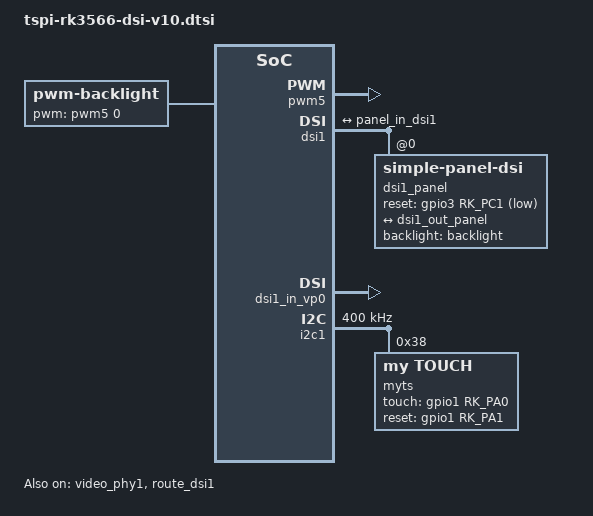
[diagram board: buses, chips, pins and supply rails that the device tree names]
/********************************************************************
 * SPDX-License-Identifier: (GPL-2.0+ OR MIT)
 * 
 * Copyright (c) 2023 Rockchip Electronics Co., Ltd.
 * Copyright (c) 2026 LCKFB <lckfb@sz-jlc.com>
 *********************************************************************
 * Wiki-(Chinese)：https://wiki.lckfb.com/
 * Wiki-(English)：https://wiki.lckfb.com/en/
 *********************************************************************/
/ {
	backlight: backlight {
		compatible = "pwm-backlight";
		pwms = <&pwm5 0 25000 0>;
		brightness-levels = <
			  0  20  20  21  21  22  22  23
			 23  24  24  25  25  26  26  27
			 27  28  28  29  29  30  30  31
			 31  32  32  33  33  34  34  35
			 35  36  36  37  37  38  38  39
			 40  41  42  43  44  45  46  47
			 48  49  50  51  52  53  54  55
			 56  57  58  59  60  61  62  63
			 64  65  66  67  68  69  70  71
			 72  73  74  75  76  77  78  79
			 80  81  82  83  84  85  86  87
			 88  89  90  91  92  93  94  95
			 96  97  98  99 100 101 102 103
			104 105 106 107 108 109 110 111
			112 113 114 115 116 117 118 119
			120 121 122 123 124 125 126 127
			128 129 130 131 132 133 134 135
			136 137 138 139 140 141 142 143
			144 145 146 147 148 149 150 151
			152 153 154 155 156 157 158 159
			160 161 162 163 164 165 166 167
			168 169 170 171 172 173 174 175
			176 177 178 179 180 181 182 183
			184 185 186 187 188 189 190 191
			192 193 194 195 196 197 198 199
			200 201 202 203 204 205 206 207
			208 209 210 211 212 213 214 215
			216 217 218 219 220 221 222 223
			224 225 226 227 228 229 230 231
			232 233 234 235 236 237 238 239
			240 241 242 243 244 245 246 247
			248 249 250 251 252 253 254 255
		>;
		default-brightness-level = <255>;
	};
};

&pwm5 {
	status = "okay";
};


&pinctrl {
	dsi1 {
		dsi1_rst_gpio: dsi1-rst-gpio {
			rockchip,pins = <3 RK_PC1 RK_FUNC_GPIO &pcfg_pull_none>;
		};
	};
};

/*
 * video_phy1 needs to be enabled
 * when dsi1 is enabled
 */
&dsi1 {
	status = "okay";
};

&dsi1_in_vp0 {
	status = "okay";
	// status = "disabled";
};

&dsi1_in_vp1 {
	status = "disabled";
	// status = "okay";
};

&video_phy1 {
	status = "okay";
};

&route_dsi1 {
	status = "okay";
	connect = <&vp0_out_dsi1>;
};


/************************************************************************************************************************************************
10-inch 
Default: 8-inch, 800x1280
************************************************************************************************************************************************/
&i2c1 {
	status = "okay";
	clock-frequency = <400000>;
	// ts@5d {
	// 	compatible = "goodix,gt9xx";
	// 	reg = <0x5d>;
	// 	tp-size = <89>;
	// 	max-x = <1280>;
	// 	max-y = <800>;
	// 	touch-gpio = <&gpio1 RK_PA0 IRQ_TYPE_LEVEL_LOW>;
	// 	reset-gpio = <&gpio1 RK_PA1 GPIO_ACTIVE_LOW>;
	// };
	myts@38 {
        compatible = "my,touch";
        reg = <0x38>;
        tp-size = <89>;
        max-x = <480>;
        max-y = <800>;
		// interrupt-parent = <&gpio1>;
        // interrupts = <0 IRQ_TYPE_EDGE_FALLING>;  // 中断引脚配置正确
        touch-gpio = <&gpio1 RK_PA0 IRQ_TYPE_LEVEL_LOW>;
		reset-gpio = <&gpio1 RK_PA1 GPIO_ACTIVE_HIGH>;
    };

	
};

// 10 inch
// &dsi1 {
// 	status = "okay";
// 	rockchip,lane-rate = <500>;
// 	dsi1_panel: panel@0 {
// 		status = "okay";
// 		compatible = "simple-panel-dsi";
// 		reset-gpios = <&gpio3 RK_PC1 GPIO_ACTIVE_LOW>;
// 		pinctrl-names = "default";
// 		pinctrl-0 = <&dsi1_rst_gpio>;
// 		reg = <0>;
// 		backlight = <&backlight>;
// 		reset-delay-ms = <30>;
// 		enable-delay-ms = <100>;
// 		prepare-delay-ms = <20>;
// 		unprepare-delay-ms = <20>;
// 		disable-delay-ms = <20>;
// 		init-delay-ms = <10>;
// 		dsi,flags = <(MIPI_DSI_MODE_VIDEO | MIPI_DSI_MODE_VIDEO_BURST |
// 			MIPI_DSI_MODE_LPM | MIPI_DSI_MODE_NO_EOT_PACKET)>;
// 		dsi,format = <MIPI_DSI_FMT_RGB888>;
// 		dsi,lanes  = <4>;
// 		panel-init-sequence = [
// 			39 00 04 FF 98 81 03
// 			15 00 02 01 00
// 			15 00 02 02 00
// 			15 00 02 03 53    
// 			15 00 02 04 53    
// 			15 00 02 05 13
// 			15 00 02 06 04
// 			15 00 02 07 02
// 			15 00 02 08 02
// 			15 00 02 09 00
// 			15 00 02 0a 00
// 			15 00 02 0b 00
// 			15 00 02 0c 00
// 			15 00 02 0d 00
// 			15 00 02 0e 00
// 			15 00 02 0f 00
// 			15 00 02 10 00
// 			15 00 02 11 00
// 			15 00 02 12 00
// 			15 00 02 13 00
// 			15 00 02 14 00
// 			15 00 02 15 00
// 			15 00 02 16 00
// 			15 00 02 17 00
// 			15 00 02 18 00
// 			15 00 02 19 00
// 			15 00 02 1a 00
// 			15 00 02 1b 00
// 			15 00 02 1c 00
// 			15 00 02 1d 00
// 			15 00 02 1e c0
// 			15 00 02 1f 00
// 			15 00 02 20 02
// 			15 00 02 21 09
// 			15 00 02 22 00
// 			15 00 02 23 00
// 			15 00 02 24 00
// 			15 00 02 25 00
// 			15 00 02 26 00
// 			15 00 02 27 00
// 			15 00 02 28 55
// 			15 00 02 29 03
// 			15 00 02 2a 00
// 			15 00 02 2b 00
// 			15 00 02 2c 00
// 			15 00 02 2d 00
// 			15 00 02 2e 00
// 			15 00 02 2f 00
// 			15 00 02 30 00
// 			15 00 02 31 00
// 			15 00 02 32 00
// 			15 00 02 33 00
// 			15 00 02 34 00
// 			15 00 02 35 00
// 			15 00 02 36 00
// 			15 00 02 37 00
// 			15 00 02 38 3C
// 			15 00 02 39 00
// 			15 00 02 3a 00
// 			15 00 02 3b 00
// 			15 00 02 3c 00
// 			15 00 02 3d 00
// 			15 00 02 3e 00
// 			15 00 02 3f 00
// 			15 00 02 40 00
// 			15 00 02 41 00
// 			15 00 02 42 00
// 			15 00 02 43 00
// 			15 00 02 44 00
			
// 			15 00 02 50 01
// 			15 00 02 51 23
// 			15 00 02 52 45
// 			15 00 02 53 67
// 			15 00 02 54 89
// 			15 00 02 55 ab
// 			15 00 02 56 01
// 			15 00 02 57 23
// 			15 00 02 58 45
// 			15 00 02 59 67
// 			15 00 02 5a 89
// 			15 00 02 5b ab
// 			15 00 02 5c cd
// 			15 00 02 5d ef

// 			15 00 02 5e 01
// 			15 00 02 5f 0A    
// 			15 00 02 60 02    
// 			15 00 02 61 02    
// 			15 00 02 62 08    
// 			15 00 02 63 15    
// 			15 00 02 64 14    
// 			15 00 02 65 02    
// 			15 00 02 66 11    
// 			15 00 02 67 10    
// 			15 00 02 68 02    
// 			15 00 02 69 0F    
// 			15 00 02 6a 0E    
// 			15 00 02 6b 02    
// 			15 00 02 6c 0D    
// 			15 00 02 6d 0C    
// 			15 00 02 6e 06    
// 			15 00 02 6f 02    
// 			15 00 02 70 02    
// 			15 00 02 71 02    
// 			15 00 02 72 02    
// 			15 00 02 73 02    
// 			15 00 02 74 02    
			
// 			15 00 02 75 0A    
// 			15 00 02 76 02    
// 			15 00 02 77 02    
// 			15 00 02 78 06    
// 			15 00 02 79 15    
// 			15 00 02 7a 14    
// 			15 00 02 7b 02    
// 			15 00 02 7c 10    
// 			15 00 02 7d 11    
// 			15 00 02 7e 02    
// 			15 00 02 7f 0C    
// 			15 00 02 80 0D    
// 			15 00 02 81 02    
// 			15 00 02 82 0E    
// 			15 00 02 83 0F    
// 			15 00 02 84 08    
// 			15 00 02 85 02    
// 			15 00 02 86 02    
// 			15 00 02 87 02    
// 			15 00 02 88 02    
// 			15 00 02 89 02    
// 			15 00 02 8A 02    


// 			39 00 04 FF 98 81 04
// 			//15 00 02 00 00  //
// 			// 15 00 02 2F 01   //BIST (Built-In Self-Test) user debugging: The screen will flash to demonstrate the test.
// 			15 00 02 3B C0  
// 			15 00 02 6C 15
// 			15 00 02 6E 30  
// 			15 00 02 6F 55  
// 			15 00 02 3A 24
// 			15 00 02 8D 1F
// 			15 00 02 87 BA
// 			15 00 02 26 76
// 			15 00 02 B2 D1
// 			15 00 02 B5 07
// 			15 00 02 35 1F
// 			15 00 02 88 0B
// 			15 00 02 21 09


// 			39 00 04 FF 98 81 01
// 			15 00 02 22 0A
// 			15 00 02 31 09
// 			15 00 02 40 33
// 			15 00 02 53 37
// 			15 00 02 55 38
// 			15 00 02 50 95
// 			15 00 02 51 95
// 			15 00 02 60 30

// 			15 00 02 A0 0F        
// 			15 00 02 A1 17        
// 			15 00 02 A2 22        
// 			15 00 02 A3 19        
// 			15 00 02 A4 15        
// 			15 00 02 A5 28        
// 			15 00 02 A6 1C        
// 			15 00 02 A7 1C        
// 			15 00 02 A8 78        
// 			15 00 02 A9 1C        
// 			15 00 02 AA 28        
// 			15 00 02 AB 69        
// 			15 00 02 AC 1A        
// 			15 00 02 AD 19        
// 			15 00 02 AE 4B        
// 			15 00 02 AF 22        
// 			15 00 02 B0 2A        
// 			15 00 02 B1 4B        
// 			15 00 02 B2 6B        
// 			15 00 02 B3 3F        

// 			15 00 02 C0 01        
// 			15 00 02 C1 17        
// 			15 00 02 C2 22        
// 			15 00 02 C3 19        
// 			15 00 02 C4 15        
// 			15 00 02 C5 28        
// 			15 00 02 C6 1C        
// 			15 00 02 C7 1D        
// 			15 00 02 C8 78        
// 			15 00 02 C9 1C        
// 			15 00 02 CA 28        
// 			15 00 02 CB 69        
// 			15 00 02 CC 1A        
// 			15 00 02 CD 19        
// 			15 00 02 CE 4B        
// 			15 00 02 CF 22        
// 			15 00 02 D0 2A        
// 			15 00 02 D1 4B        
// 			15 00 02 D2 6B        
// 			15 00 02 D3 3F        
// 			39 00 04 FF 98 81 00		
// 			05 78 01 11
// 			05 14 01 29
// 		];

// 		panel-exit-sequence = [
// 			05 00 01 28
// 			05 00 01 10
// 		];

// 		disp_timings1: display-timings {
// 			native-mode = <&dsi1_timing0>;
// 			dsi1_timing0: timing0 {
// 				clock-frequency = <71000000>;
// 				hactive = <800>;
// 				vactive = <1280>;
// 				hfront-porch = <52>;
// 				hsync-len = <8>;
// 				hback-porch = <48>;
// 				vfront-porch = <15>;
// 				vsync-len = <6>;
// 				vback-porch = <16>;
// 				hsync-active = <0>;
// 				vsync-active = <0>;
// 				de-active = <0>;
// 				pixelclk-active = <0>;
// 			};
// 		};

// 		ports {
// 			#address-cells = <1>;
// 			#size-cells = <0>;

// 			port@0 {
// 				reg = <0>;
// 				panel_in_dsi1: endpoint {
// 					remote-endpoint = <&dsi1_out_panel>;
// 				};
// 			};
// 		};
// 	};

// 	ports {
// 		#address-cells = <1>;
// 		#size-cells = <0>;

// 		port@1 {
// 			reg = <1>;
// 			dsi1_out_panel: endpoint {
// 				remote-endpoint = <&panel_in_dsi1>;
// 			};
// 		};
// 	};

// };

// 3.1 inch
&dsi1 {
        status = "okay";
        rockchip,lane-rate = <500>;//(480+50+60+10)*(800+20+34+2)*60*3*8/2,+100mhz
        dsi1_panel: panel@0 {
                status = "okay";
                compatible = "simple-panel-dsi";
                reset-gpios = <&gpio3 RK_PC1 GPIO_ACTIVE_LOW>;
                pinctrl-names = "default";
                pinctrl-0 = <&dsi1_rst_gpio>;
                reg = <0>;
                backlight = <&backlight>;
				reset-delay-ms = <200>;
				enable-delay-ms = <100>;
				prepare-delay-ms = <20>;
				unprepare-delay-ms = <20>;
				disable-delay-ms = <20>;
				init-delay-ms = <120>;
				dsi,flags = <(MIPI_DSI_MODE_VIDEO | MIPI_DSI_MODE_VIDEO_BURST |
					MIPI_DSI_MODE_LPM | MIPI_DSI_MODE_NO_EOT_PACKET)>;
				dsi,format = <MIPI_DSI_FMT_RGB888>;
				dsi,lanes  = <2>;
               	panel-init-sequence = [
				// init code
				05 78 01 01
				05 78 01 11
				39 0A 06 FF 77 01 00 00 11
				15 0A 02 D1 11
				15 0A 02 55 B0 // 80 90 b0
				39 0A 06 FF 77 01 00 00 10
				39 0A 03 C0 63 00
				39 0A 03 C1 09 02
				39 0A 03 C2 37 08
				15 0A 02 C7 00 // x-dir rotate 0:0x00,rotate 180:0x04
				15 0A 02 CC 38
				39 0A 11 B0 00 11 19 0C 10 06 07 0A 09 22 04 10 0E 28 30 1C
				39 6E 11 B1 00 12 19 0D 10 04 06 07 08 23 04 12 11 28 30 1C
				39 0A 06 FF 77 01 00 00 11 // enable  bk fun of  command 2  BK1
				15 0A 02 B0 4D
				15 0A 02 B1 60 // 0x56  0x4a  0x5b
				15 0A 02 B2 07
				15 6E 02 B3 80
				15 0A 02 B5 47
				15 0A 02 B7 8A
				15 0A 02 B8 21
				15 0A 02 C1 78
				15 0A 02 C2 78
				15 0A 02 D0 88
				39 0A 04 E0 00 00 02
				39 0A 0C E1 01 A0 03 A0 02 A0 04 A0 00 44 44
				39 0A 0D E2 00 00 00 00 00 00 00 00 00 00 00 00
				39 0A 05 E3 00 00 33 33
				39 0A 03 E4 44 44
				39 0A 11 E5 01 26 A0 A0 03 28 A0 A0 05 2A A0 A0 07 2C A0 A0
				39 0A 05 E6 00 00 33 33
				39 0A 03 E7 44 44
				39 0A 11 E8 02 26 A0 A0 04 28 A0 A0 06 2A A0 A0 08 2C A0 A0
				39 0A 08 EB 00 01 E4 E4 44 00 40
				39 0A 11 ED FF F7 65 4F 0B A1 CF FF FF FC 1A B0 F4 56 7F FF
				15 0A 02 EE 42 // missing?
				39 0A 06 FF 77 01 00 00 00
				15 0A 02 36 00 //U&D  Y-DIR rotate 0:0x00,rotate 180:0x10
				15 0A 02 3A 55
				05 78 01 11           
				05 14 01 29	
			];

			panel-exit-sequence = [
				05 00 01 28
				05 00 01 10
			];

                disp_timings1: display-timings {
                        native-mode = <&dsi1_timing0>;
                        dsi1_timing0: timing0 {
                                clock-frequency = <30816000>;// (480+50+60+10)*(800+20+34+2)*60
                                hactive = <480>;
                                hfront-porch = <50>;
                                hback-porch = <60>;
                                hsync-len = <10>;
                                vactive = <800>;
                                vfront-porch = <20>;
                                vback-porch = <34>;
                                vsync-len = <2>;
                                hsync-active = <0>;
                                vsync-active = <0>;
                                de-active = <0>;
                                pixelclk-active = <0>;
                                swap-rb = <0>;
                                swap-rg = <0>;
                                swap-gb = <0>;
                        };
                };
        ports {
                        #address-cells = <1>;
                        #size-cells = <0>;
                        port@0 {
                                reg = <0>;
                                panel_in_dsi1: endpoint {
                                        remote-endpoint = <&dsi1_out_panel>;
                                };
                        };
                };
        };
        ports {
                #address-cells = <1>;
                #size-cells = <0>;
                port@1 {
                        reg = <1>;
                        dsi1_out_panel: endpoint {
                                remote-endpoint = <&panel_in_dsi1>;
                        };
                };
        };
};

// 8 inch 800x1280
// &dsi1 {
// 	status = "okay";
// 	rockchip,lane-rate = <480>;
// 	dsi1_panel: panel@0 {
// 		status = "okay";
// 		compatible = "simple-panel-dsi";
// 		reset-gpios = <&gpio3 RK_PC1 GPIO_ACTIVE_LOW>;
// 		pinctrl-names = "default";
// 		pinctrl-0 = <&dsi1_rst_gpio>;
// 		reg = <0>;
// 		backlight = <&backlight>;
// 		reset-delay-ms = <10>;
// 		enable-delay-ms = <120>;
// 		prepare-delay-ms = <20>;
// 		unprepare-delay-ms = <20>;
// 		disable-delay-ms = <50>;
// 		dsi,flags = <(MIPI_DSI_MODE_VIDEO | MIPI_DSI_MODE_VIDEO_BURST |
// 			MIPI_DSI_MODE_LPM | MIPI_DSI_MODE_NO_EOT_PACKET)>;
// 		dsi,format = <MIPI_DSI_FMT_RGB888>;
// 		dsi,lanes  = <4>;
// 		panel-init-sequence = [
// 			15 00 02 E0 00
// 			15 00 02 E1 93
// 			15 00 02 E2 65
// 			15 00 02 E3 F8
// 			15 00 02 80 03
// 			15 00 02 E0 01
// 			15 00 02 00 00
// 			15 00 02 01 3C
// 			15 00 02 03 10
// 			15 00 02 04 38
// 			15 00 02 0C 74
// 			15 00 02 17 00
// 			15 00 02 18 E7
// 			15 00 02 19 01
// 			15 00 02 1A 00
// 			15 00 02 1B E7
// 			15 00 02 1C 01
// 			15 00 02 24 FE
// 			15 00 02 35 23
// 			15 00 02 37 09
// 			15 00 02 38 04
// 			15 00 02 39 00
// 			15 00 02 3A 01
// 			15 00 02 3C 70
// 			15 00 02 3D FF
// 			15 00 02 3E FF
// 			15 00 02 3F 7F
// 			15 00 02 40 06
// 			15 00 02 41 A0
// 			15 00 02 43 1E
// 			15 00 02 44 0B
// 			15 00 02 45 28
// 			15 00 02 55 02
// 			15 00 02 57 A9
// 			15 00 02 59 0A
// 			15 00 02 5A 2D
// 			15 00 02 5B 19
// 			15 00 02 5C 15
// 			15 00 02 5D 7F
// 			15 00 02 5E 6E
// 			15 00 02 5F 5F
// 			15 00 02 60 53
// 			15 00 02 61 50
// 			15 00 02 62 41
// 			15 00 02 63 44
// 			15 00 02 64 2C
// 			15 00 02 65 44
// 			15 00 02 66 42
// 			15 00 02 67 40
// 			15 00 02 68 5B
// 			15 00 02 69 45
// 			15 00 02 6A 48
// 			15 00 02 6B 38
// 			15 00 02 6C 32
// 			15 00 02 6D 25
// 			15 00 02 6E 14
// 			15 00 02 6F 08
// 			15 00 02 70 7F
// 			15 00 02 71 6E
// 			15 00 02 72 5F
// 			15 00 02 73 53
// 			15 00 02 74 50
// 			15 00 02 75 41
// 			15 00 02 76 44
// 			15 00 02 77 2C
// 			15 00 02 78 44
// 			15 00 02 79 42
// 			15 00 02 7A 40
// 			15 00 02 7B 5B
// 			15 00 02 7C 45
// 			15 00 02 7D 48
// 			15 00 02 7E 38
// 			15 00 02 7F 32
// 			15 00 02 80 25
// 			15 00 02 81 14
// 			15 00 02 82 08
// 			15 00 02 E0 02
// 			15 00 02 00 50
// 			15 00 02 01 5F
// 			15 00 02 02 5F
// 			15 00 02 03 52
// 			15 00 02 04 77
// 			15 00 02 05 57
// 			15 00 02 06 5F
// 			15 00 02 07 4E
// 			15 00 02 08 4C
// 			15 00 02 09 5F
// 			15 00 02 0A 4A
// 			15 00 02 0B 48
// 			15 00 02 0C 5F
// 			15 00 02 0D 46
// 			15 00 02 0E 44
// 			15 00 02 0F 40
// 			15 00 02 10 5F
// 			15 00 02 11 5F
// 			15 00 02 12 5F
// 			15 00 02 13 5F
// 			15 00 02 14 5F
// 			15 00 02 15 5F
// 			15 00 02 16 51
// 			15 00 02 17 5F
// 			15 00 02 18 5F
// 			15 00 02 19 53
// 			15 00 02 1A 77
// 			15 00 02 1B 57
// 			15 00 02 1C 5F
// 			15 00 02 1D 4F
// 			15 00 02 1E 4D
// 			15 00 02 1F 5F
// 			15 00 02 20 4B
// 			15 00 02 21 49
// 			15 00 02 22 5F
// 			15 00 02 23 47
// 			15 00 02 24 45
// 			15 00 02 25 41
// 			15 00 02 26 5F
// 			15 00 02 27 5F
// 			15 00 02 28 5F
// 			15 00 02 29 5F
// 			15 00 02 2A 5F
// 			15 00 02 2B 5F
// 			15 00 02 2C 01
// 			15 00 02 2D 1F
// 			15 00 02 2E 1F
// 			15 00 02 2F 13
// 			15 00 02 30 17
// 			15 00 02 31 17
// 			15 00 02 32 1F
// 			15 00 02 33 0D
// 			15 00 02 34 0F
// 			15 00 02 35 1F
// 			15 00 02 36 05
// 			15 00 02 37 07
// 			15 00 02 38 1F
// 			15 00 02 39 09
// 			15 00 02 3A 0B
// 			15 00 02 3B 11
// 			15 00 02 3C 1F
// 			15 00 02 3D 1F
// 			15 00 02 3E 1F
// 			15 00 02 3F 1F
// 			15 00 02 40 1F
// 			15 00 02 41 1F
// 			15 00 02 42 00
// 			15 00 02 43 1F
// 			15 00 02 44 1F
// 			15 00 02 45 12
// 			15 00 02 46 17
// 			15 00 02 47 17
// 			15 00 02 48 1F
// 			15 00 02 49 0C
// 			15 00 02 4A 0E
// 			15 00 02 4B 1F
// 			15 00 02 4C 04
// 			15 00 02 4D 06
// 			15 00 02 4E 1F
// 			15 00 02 4F 08
// 			15 00 02 50 0A
// 			15 00 02 51 10
// 			15 00 02 52 1F
// 			15 00 02 53 1F
// 			15 00 02 54 1F
// 			15 00 02 55 1F
// 			15 00 02 56 1F
// 			15 00 02 57 1F
// 			15 00 02 58 40
// 			15 00 02 5B 10
// 			15 00 02 5C 06
// 			15 00 02 5D 40
// 			15 00 02 5E 00
// 			15 00 02 5F 00
// 			15 00 02 60 40
// 			15 00 02 61 03
// 			15 00 02 62 04
// 			15 00 02 63 6C
// 			15 00 02 64 6C
// 			15 00 02 65 75
// 			15 00 02 66 08
// 			15 00 02 67 B4
// 			15 00 02 68 08
// 			15 00 02 69 6C
// 			15 00 02 6A 6C
// 			15 00 02 6B 0C
// 			15 00 02 6D 00
// 			15 00 02 6E 00
// 			15 00 02 6F 88
// 			15 00 02 75 BB
// 			15 00 02 76 00
// 			15 00 02 77 05
// 			15 00 02 78 2A
// 			15 00 02 E0 04
// 			15 00 02 00 0E
// 			15 00 02 02 B3
// 			15 00 02 09 60
// 			15 00 02 0E 48
// 			15 00 02 E0 00
// 			05 fa 01 11
// 			05 32 01 29
// 		];

// 		panel-exit-sequence = [
// 			05 00 01 28
// 			05 00 01 10
// 		];

// 		disp_timings1: display-timings {
// 			native-mode = <&dsi1_timing0>;
// 			dsi1_timing0: timing0 {
// 				clock-frequency = <66000000>;
// 				hactive = <800>;
// 				vactive = <1280>;
// 				hfront-porch = <18>;
// 				hsync-len = <12>;
// 				hback-porch = <18>;
// 				vfront-porch = <24>;
// 				vsync-len = <4>;
// 				vback-porch = <12>;
// 				hsync-active = <0>;
// 				vsync-active = <0>;
// 				de-active = <0>;
// 				pixelclk-active = <1>;
// 			};
// 		};

// 		ports {
// 			#address-cells = <1>;
// 			#size-cells = <0>;

// 			port@0 {
// 				reg = <0>;
// 				panel_in_dsi1: endpoint {
// 					remote-endpoint = <&dsi1_out_panel>;
// 				};
// 			};
// 		};
// 	};

// 	ports {
// 		#address-cells = <1>;
// 		#size-cells = <0>;

// 		port@1 {
// 			reg = <1>;
// 			dsi1_out_panel: endpoint {
// 				remote-endpoint = <&panel_in_dsi1>;
// 			};
// 		};
// 	};

// };
